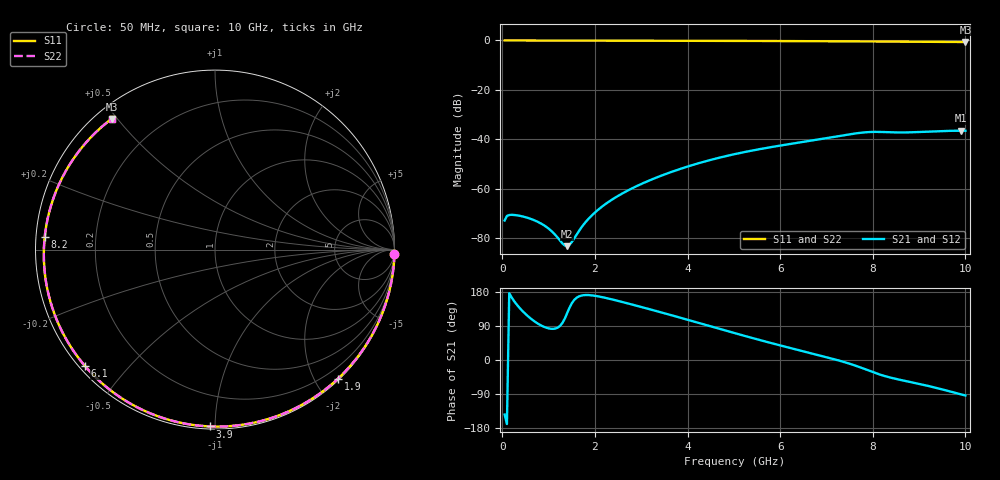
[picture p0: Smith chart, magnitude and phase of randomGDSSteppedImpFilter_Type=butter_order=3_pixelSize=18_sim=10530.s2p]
! freq	dB(S11)	phase(S11)	dB(S12)	phase(S12)
!  dB(S21)	phase(S21)	dB(S22)	phase(S22)
!S-par simulation data
#  GHz  S  DB  R 50
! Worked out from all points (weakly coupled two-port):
!   200 points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, 50 MHz to 10 GHz, reference 50 ohm
!   highest |S21| = -36.57 dB at 9.9 GHz (marker M1); lowest = -83.3 dB at 1.4 GHz (marker M2)
!   lowest |S11| = -0.6 dB at 10 GHz (marker M3), VSWR 27.17, Z = 2.27 + j24.2 ohm
!   |S11| at or under -10 dB: nowhere
!   |S22| runs from -0.6 to 0.0 dB; largest |S21 - S12| = 0
!   S11 on the Smith chart (normalised r, x): 50 MHz: 0, -92; 1.9 GHz: 0.02, -2.34; 3.9 GHz: 0.01, -0.97; 6.1 GHz: 0.02, -0.38; 8.2 GHz: 0.03, +0.04; 10 GHz: 0.05, +0.48
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0.05  -0.00 -1.2  -72.93 -144.0  -72.93 -144.0  -0.00 -1.2
0.1  -0.00 -2.5  -71.11 -168.9  -71.11 -168.9  -0.00 -2.5
0.15  -0.00 -3.7  -70.72 176.4  -70.72 176.4  -0.00 -3.7
0.5  -0.01 -12.4  -71.59 121.5  -71.59 121.5  -0.01 -12.4
0.9  -0.03 -22.3  -74.88 87.6  -74.88 87.6  -0.03 -22.3
1.2  -0.04 -29.6  -79.97 85.7  -79.97 85.7  -0.04 -29.6
1.4  -0.04 -34.4  -83.34 123.4  -83.34 123.4  -0.04 -34.4
1.55  -0.05 -38.0  -80.24 158.1  -80.24 158.1  -0.05 -38.0
1.75  -0.05 -42.8  -74.71 171.0  -74.71 171.0  -0.05 -42.8
1.9  -0.06 -46.3  -71.50 171.0  -71.50 171.0  -0.06 -46.3
2.5  -0.08 -60.3  -62.97 155.9  -62.97 155.9  -0.08 -60.3
3.4  -0.11 -80.7  -55.01 126.7  -55.01 126.7  -0.11 -80.7
3.9  -0.13 -91.6  -51.68 109.7  -51.68 109.7  -0.13 -91.6
5.05  -0.18 -116.2  -45.92 69.8  -45.92 69.8  -0.18 -116.1
6.1  -0.24 -138.2  -42.28 35.4  -42.28 35.4  -0.24 -138.2
6.7  -0.29 -150.9  -40.49 16.9  -40.49 16.9  -0.29 -150.9
7.45  -0.36 -167.2  -38.18 -7.9  -38.18 -7.9  -0.36 -167.2
8.2  -0.43 175.7  -37.08 -40.2  -37.08 -40.2  -0.43 175.7
8.35  -0.45 172.1  -37.19 -45.5  -37.19 -45.5  -0.45 172.1
9.15  -0.54 152.1  -36.96 -67.1  -36.96 -67.1  -0.54 152.1
9.9  -0.63 131.3  -36.57 -90.5  -36.57 -90.5  -0.63 131.3
10  -0.64 128.4  -36.57 -93.8  -36.57 -93.8  -0.64 128.3
